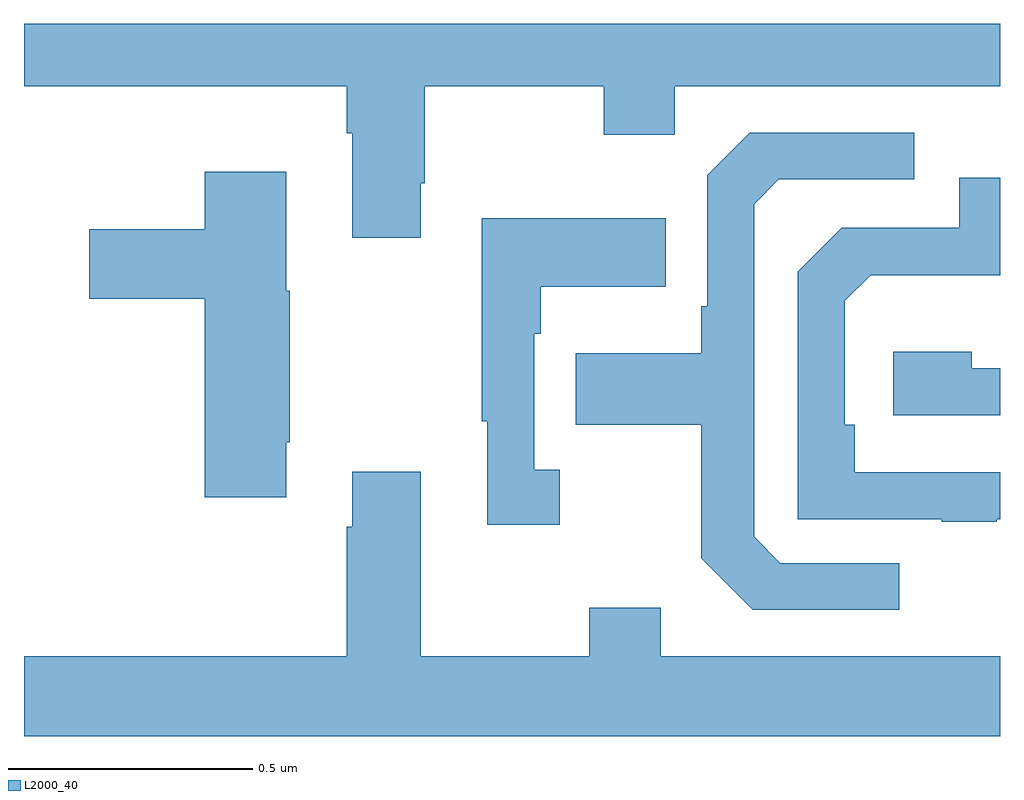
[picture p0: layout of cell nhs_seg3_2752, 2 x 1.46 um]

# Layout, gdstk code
import gdstk
lib = gdstk.Library(unit=1e-6, precision=1e-09)
def P(c, l, *ps):  # polygons
    for p in ps: c.add(gdstk.Polygon(p, *l))
L2000_40 = (2000, 40)

nhs_seg3_2752 = lib.new_cell('nhs_seg3_2752')
P(nhs_seg3_2752, L2000_40, [(145.813,678.073),(145.821,678.073),(145.821,678.272),(146.188,678.272),(146.188,678.173),(146.334,678.173),(146.334,678.272),(147,678.272),(147,678.4),(145,678.4),(145,678.272),(145.661,678.272),(145.661,678.176),(145.673,678.176),(145.673,677.961),(145.813,677.961)],
  [(146.794,677.295),(146.55,677.295),(146.496,677.349),(146.496,678.03),(146.547,678.081),(146.824,678.081),(146.824,678.177),(146.487,678.177),(146.4,678.09),(146.4,677.821),(146.388,677.821),(146.388,677.725),(146.131,677.725),(146.131,677.578),(146.388,677.578),(146.388,677.305),(146.493,677.199),(146.794,677.199)],
  [(145.537,677.542),(145.545,677.542),(145.545,677.853),(145.537,677.853),(145.537,678.097),(145.37,678.097),(145.37,677.979),(145.134,677.979),(145.134,677.837),(145.37,677.837),(145.37,677.43),(145.537,677.43)],
  [(146.993,677.385),(147,677.385),(147,677.481),(146.702,677.481),(146.702,677.578),(146.682,677.578),(146.682,677.832),(146.735,677.885),(147,677.885),(147,678.084),(146.916,678.084),(146.916,677.982),(146.676,677.982),(146.586,677.892),(146.586,677.385),(146.881,677.385),(146.881,677.38),(146.993,677.38)],
  [(146.098,677.486),(146.046,677.486),(146.046,677.765),(146.059,677.765),(146.059,677.861),(146.315,677.861),(146.315,678.001),(145.938,678.001),(145.938,677.585),(145.949,677.585),(145.949,677.373),(146.098,677.373)],
  [(147,677.694),(146.942,677.694),(146.942,677.728),(146.781,677.728),(146.781,677.598),(147,677.598)],
  [(147,677.104),(146.305,677.104),(146.305,677.203),(146.158,677.203),(146.158,677.104),(145.813,677.104),(145.813,677.482),(145.673,677.482),(145.673,677.369),(145.661,677.369),(145.661,677.104),(145,677.104),(145,676.94),(147,676.94)])

lib.write_gds('nhs_seg3_2752.gds')
